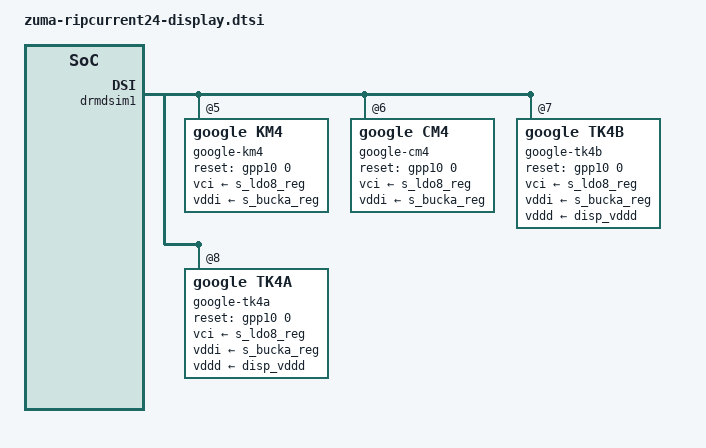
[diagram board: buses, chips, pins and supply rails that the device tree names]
// SPDX-License-Identifier: GPL-2.0-only
/*
 * Display nodes for slider-related boards.
 *
 * Copyright 2022 Google LLC
 *
 */

#include "zuma-ripcurrent-display.dtsi"

&dsim_modes {
	dsim-modes {
		960x2142 {
			mode-name = "960x2142";
			pmsk = <
				0x1 0x6F 0x2 0x5400 /* p m s k */
				>;
			hs-clk = <1368>;
			esc-clk = <20>;
		};
		1008x2244 {
			mode-name = "1008x2244";
			pmsk = <
				0x1 0x6F 0x2 0x5400 /* p m s k */
				>;
			hs-clk = <1368>;
			esc-clk = <20>;
		};
		1080x2400 {
			mode-name = "1080x2400";
			pmsk = <
				0x2 0xf6 0x3 0x1800 /* p m s k */
				>;
			hs-clk = <756>;
			esc-clk = <20>;
		};
		1080x2424 {
			mode-name = "1080x2424";
			pmsk = <
				0x2 0xf6 0x3 0x1800 /* p m s k */
				>;
			hs-clk = <756>;
			esc-clk = <20>;
		};
		1280x2856 {
			mode-name = "1280x2856";
			pmsk = <
				0x1 0x6F 0x2 0x5400 /* p m s k */
				>;
			hs-clk = <1368>;
			esc-clk = <20>;
		};
		1344x2992 {
			mode-name = "1344x2992";
			pmsk = <
				0x1 0x6F 0x2 0x5400 /* p m s k */
				>;
			hs-clk = <1368>;
			esc-clk = <20>;
		};
	};
};

&drmdsim1 {
	status = "okay";
	panel@5 {
		compatible = "google,km4";
		label = "google-km4";
		channel = <0>;

		/* reset, power */
		reset-gpios = <&gpp10 0 GPIO_ACTIVE_HIGH>;
		vci-supply = <&s_ldo8_reg>;
		vddi-supply = <&s_bucka_reg>;
	};
	panel@6 {
		compatible = "google,cm4";
		label = "google-cm4";
		channel = <0>;

		/* reset, power */
		reset-gpios = <&gpp10 0 GPIO_ACTIVE_HIGH>;
		vci-supply = <&s_ldo8_reg>;
		vddi-supply = <&s_bucka_reg>;
	};
	panel@7 {
		compatible = "google,tk4b";
		label = "google-tk4b";
		channel = <0>;

		/* reset, power */
		reset-gpios = <&gpp10 0 GPIO_ACTIVE_HIGH>;
		vci-supply = <&s_ldo8_reg>;
		vddi-supply = <&s_bucka_reg>;
		vddd-supply = <&disp_vddd>;
	};
	panel@8 {
		compatible = "google,tk4a";
		label = "google-tk4a";
		channel = <0>;

		/* reset, power */
		reset-gpios = <&gpp10 0 GPIO_ACTIVE_HIGH>;
		vci-supply = <&s_ldo8_reg>;
		vddi-supply = <&s_bucka_reg>;
		vddd-supply = <&disp_vddd>;
	};
};
